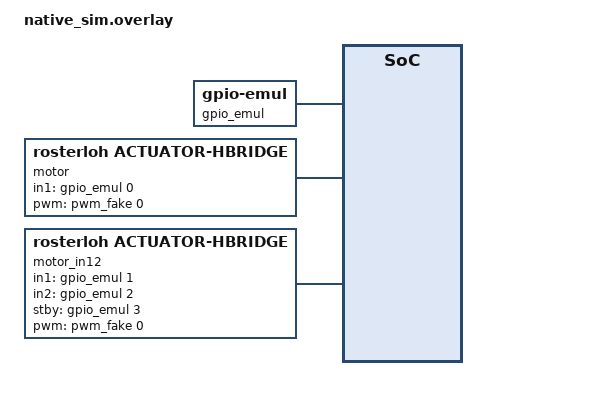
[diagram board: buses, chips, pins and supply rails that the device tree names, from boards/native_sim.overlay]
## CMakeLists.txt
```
cmake_minimum_required(VERSION 3.20.0)
find_package(Zephyr REQUIRED HINTS $ENV{ZEPHYR_BASE})
project(actuator_hbridge_build)
target_sources(app PRIVATE src/main.c)
```

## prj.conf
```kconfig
CONFIG_ZTEST=y
CONFIG_ACTUATOR=y
CONFIG_ACTUATOR_HBRIDGE=y
CONFIG_PWM=y
CONFIG_PWM_FAKE=y
CONFIG_GPIO=y
CONFIG_GPIO_EMUL=y
CONFIG_FPU=y
```

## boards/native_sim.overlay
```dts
/*
 * Copyright (c) 2026 Richard Osterloh <richard.osterloh@gmail.com>
 * SPDX-License-Identifier: Apache-2.0
 */

/ {
	pwm_fake: pwm-fake {
		compatible = "zephyr,fake-pwm";
		#pwm-cells = <2>;
		frequency = <20000>;
		status = "okay";
	};

	gpio_emul: gpio_emul {
		compatible = "zephyr,gpio-emul";
		gpio-controller;
		#gpio-cells = <2>;
		ngpios = <8>;
		status = "okay";
	};

	motor: motor {
		compatible = "rosterloh,actuator-hbridge";
		pwms = <&pwm_fake 0 50000>;
		in1-gpios = <&gpio_emul 0 GPIO_ACTIVE_HIGH>;
	};

	motor_in12: motor_in12 {
		compatible = "rosterloh,actuator-hbridge";
		pwms = <&pwm_fake 0 50000>;
		in1-gpios = <&gpio_emul 1 GPIO_ACTIVE_HIGH>;
		in2-gpios = <&gpio_emul 2 GPIO_ACTIVE_HIGH>;
		stby-gpios = <&gpio_emul 3 GPIO_ACTIVE_HIGH>;
		ramp-up-permille-per-s = <2000>;
		ramp-down-permille-per-s = <4000>;
	};
};
```

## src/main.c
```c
#include <zephyr/fff.h>
#include <zephyr/ztest.h>

DEFINE_FFF_GLOBALS;

ZTEST_SUITE(hbridge_build, NULL, NULL, NULL, NULL, NULL);
ZTEST(hbridge_build, test_smoke)
{
	ztest_test_skip();
}
```
